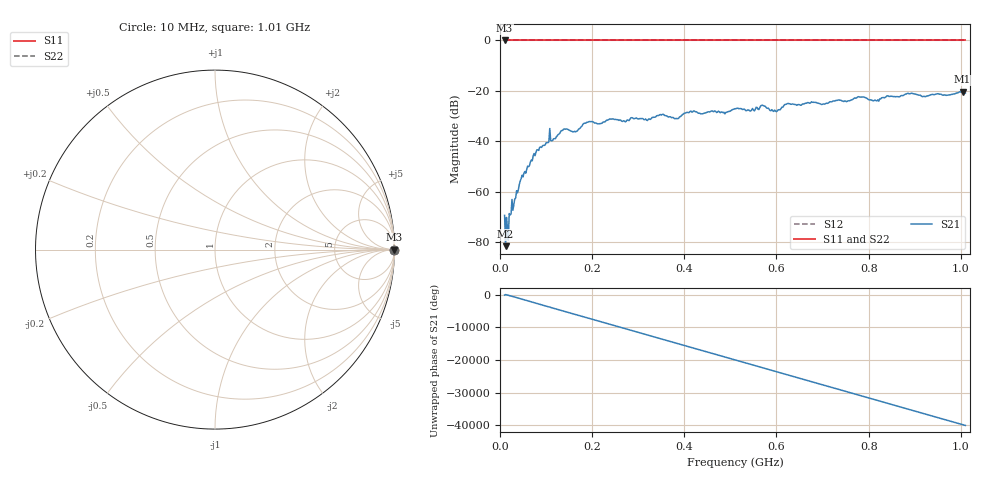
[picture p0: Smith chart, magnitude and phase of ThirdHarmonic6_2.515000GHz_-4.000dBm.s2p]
! 8/17/2025 4:54:45 AM
! C:\ANRITSUVNA\TEMP\TEMP.S2P
! CHANNEL.1
! TR.MEASUREMENT
! RAW.DATA
! RF.CORRECTION.OFF
! AVERAGING.OFF
! IF.BANDWIDTH: 5KHZ
! SWEEPTYPE:  FREQ.SWEEP(Linear)
! Reference Plane Port Info
! PORT:  PORT1  PORT2
! DISTANCE:  0  m  0  m
! TIME:  0  s  0  s
! PHASE.OFFSET:  0  deg.  0  deg.
! LOSS:  0  dB  0  dB
! REF.LOSS:  0  dB  0  dB
! REF.FREQ:  0  Hz  0  Hz
! Power Info
! POWER:  -20  dBm  -20  dBm
! EFF.POWER:  -20  dBm  -20  dBm
! SOURCE.ATTEN:  0  dB  0  dB
! TEST.ATTEN:  0  dB  0  dB
# GHZ S RI R 50.0
! FREQ.GHZ  S11RE  S11IM  S21RE  S21IM  S12RE  S12IM  S22RE  S22IM
!; PortSelection: Port_12
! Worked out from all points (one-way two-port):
!   501 points, 10 MHz to 1.01 GHz, reference 50 ohm
!   highest |S21| = -20.30 dB at 1.004 GHz (marker M1); lowest = -81.5 dB at 12 MHz (marker M2)
!   lowest |S11| = 0.0 dB at 10 MHz (marker M3)
!   |S11| at or under -10 dB: nowhere
!   |S22| runs from 0.0 to 0.0 dB; largest |S21 - S12| = 1.1
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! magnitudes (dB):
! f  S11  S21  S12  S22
! 10 MHz  0.0  -69.3  0.0  0.0
! 12 MHz  0.0  -81.5  0.0  0.0
! 16 MHz  0.0  -74.0  0.0  0.0
! 24 MHz  0.0  -68.8  0.0  0.0
! 46 MHz  0.0  -54.7  0.0  0.0
! 78 MHz  0.0  -44.4  0.0  0.0
! 136 MHz  0.0  -35.7  0.0  0.0
! 164 MHz  0.0  -36.2  0.0  0.0
! 178 MHz  0.0  -33.9  0.0  0.0
! 344 MHz  0.0  -29.8  0.0  0.0
! 382 MHz  0.0  -30.9  0.0  0.0
! 416 MHz  0.0  -28.3  0.0  0.0
! 510 MHz  0.0  -27.0  0.0  0.0
! 570 MHz  0.0  -25.7  0.0  0.0
! 598 MHz  0.0  -28.0  0.0  0.0
! 622 MHz  0.0  -25.2  0.0  0.0
! 678 MHz  0.0  -24.5  0.0  0.0
! 780 MHz  0.0  -22.4  0.0  0.0
! 818 MHz  0.0  -24.0  0.0  0.0
! 844 MHz  0.0  -22.2  0.0  0.0
! 1.004 GHz  0.0  -20.3  0.0  0.0
! 1.01 GHz  0.0  -20.9  0.0  0.0
